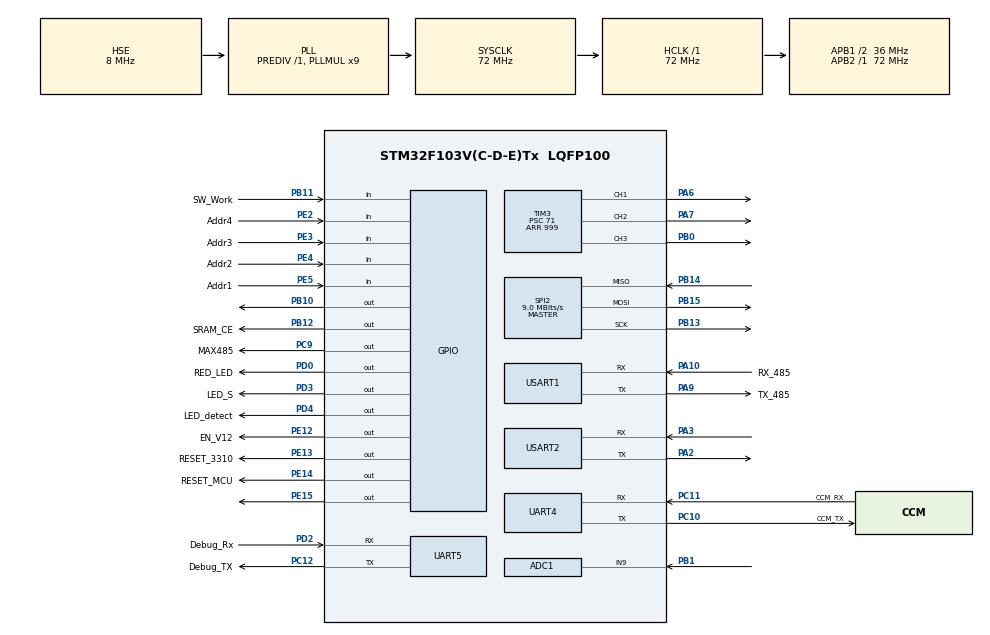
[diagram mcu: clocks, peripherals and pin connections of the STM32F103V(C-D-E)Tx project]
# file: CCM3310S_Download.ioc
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ADC1.Channel-16\#ChannelRegularConversion=ADC_CHANNEL_9
ADC1.Channel-17\#ChannelRegularConversion=ADC_CHANNEL_TEMPSENSOR
ADC1.Channel-18\#ChannelRegularConversion=ADC_CHANNEL_VREFINT
ADC1.ContinuousConvMode=ENABLE
ADC1.EnableAnalogWatchDog=false
ADC1.NbrOfConversion=3
ADC1.NbrOfConversionFlag=1
ADC1.Rank-16\#ChannelRegularConversion=1
ADC1.Rank-17\#ChannelRegularConversion=2
ADC1.Rank-18\#ChannelRegularConversion=3
ADC1.SamplingTime-16\#ChannelRegularConversion=ADC_SAMPLETIME_55CYCLES_5
ADC1.SamplingTime-17\#ChannelRegularConversion=ADC_SAMPLETIME_55CYCLES_5
ADC1.SamplingTime-18\#ChannelRegularConversion=ADC_SAMPLETIME_55CYCLES_5
ADC1.master=1
Dma.ADC1.0.Direction=DMA_PERIPH_TO_MEMORY
Dma.ADC1.0.Instance=DMA1_Channel1
Dma.ADC1.0.MemDataAlignment=DMA_MDATAALIGN_HALFWORD
Dma.ADC1.0.MemInc=DMA_MINC_ENABLE
Dma.ADC1.0.Mode=DMA_CIRCULAR
Dma.ADC1.0.PeriphDataAlignment=DMA_PDATAALIGN_HALFWORD
Dma.ADC1.0.PeriphInc=DMA_PINC_DISABLE
Dma.ADC1.0.Priority=DMA_PRIORITY_HIGH
Dma.Request0=ADC1
FREERTOS.Tasks01=defaultTask,24,128,StartDefaultTask,Default,NULL,Dynamic,NULL,NULL
FREERTOS.configTICK_RATE_HZ=1000
Mcu.Family=STM32F1
Mcu.Name=STM32F103V(C-D-E)Tx
Mcu.Package=LQFP100
NVIC.DMA1_Channel1_IRQn=true\:5\:0\:false\:false\:true\:true\:false\:true
NVIC.PriorityGroup=NVIC_PRIORITYGROUP_4
NVIC.UART4_IRQn=true\:5\:0\:false\:false\:true\:true\:true\:true
NVIC.UART5_IRQn=true\:5\:0\:true\:false\:true\:true\:true\:true
NVIC.USART1_IRQn=true\:5\:0\:false\:false\:true\:true\:true\:true
NVIC.USART2_IRQn=true\:5\:0\:false\:false\:true\:true\:true\:true
OSC_IN.Mode=HSE-External-Oscillator
OSC_IN.Signal=RCC_OSC_IN
OSC_OUT.Mode=HSE-External-Oscillator
OSC_OUT.Signal=RCC_OSC_OUT
PA10.GPIO_Label=RX_485
PA10.GPIO_PuPd=GPIO_PULLUP
PA10.Mode=Asynchronous
PA10.Signal=USART1_RX
PA13.Mode=Serial_Wire
PA13.Signal=SYS_JTMS-SWDIO
PA14.Mode=Serial_Wire
PA14.Signal=SYS_JTCK-SWCLK
PA2.Mode=Asynchronous
PA2.Signal=USART2_TX
PA3.GPIO_PuPd=GPIO_PULLUP
PA3.Mode=Asynchronous
PA3.Signal=USART2_RX
PA6.GPIO_Speed=GPIO_SPEED_FREQ_HIGH
PA6.Signal=S_TIM3_CH1
PA7.GPIO_Speed=GPIO_SPEED_FREQ_HIGH
PA7.Signal=S_TIM3_CH2
PA9.GPIO_Label=TX_485
PA9.Mode=Asynchronous
PA9.Signal=USART1_TX
PB0.GPIO_Speed=GPIO_SPEED_FREQ_HIGH
PB0.Signal=S_TIM3_CH3
PB1.Signal=ADCx_IN9
PB10.Signal=GPIO_Output
PB11.GPIO_Label=SW_Work
PB11.GPIO_PuPd=GPIO_PULLUP
PB11.Signal=GPIO_Input
PB12.GPIO_Label=SRAM_CE
PB12.GPIO_PuPd=GPIO_PULLUP
PB12.GPIO_Speed=GPIO_SPEED_FREQ_HIGH
PB12.PinState=GPIO_PIN_SET
PB12.Signal=GPIO_Output
PB13.Mode=Full_Duplex_Master
PB13.Signal=SPI2_SCK
PB14.GPIO_PuPd=GPIO_PULLUP
PB14.Mode=Full_Duplex_Master
PB14.Signal=SPI2_MISO
PB15.Mode=Full_Duplex_Master
PB15.Signal=SPI2_MOSI
PC10.GPIO_Label=CCM_TX
PC10.Mode=Asynchronous
PC10.Signal=UART4_TX
PC11.GPIO_Label=CCM_RX
PC11.GPIO_PuPd=GPIO_PULLUP
PC11.Mode=Asynchronous
PC11.Signal=UART4_RX
PC12.GPIO_Label=Debug_TX
PC12.Mode=Asynchronous
PC12.Signal=UART5_TX
PC9.GPIO_Label=MAX485
PC9.GPIO_PuPd=GPIO_PULLUP
PC9.GPIO_Speed=GPIO_SPEED_FREQ_HIGH
PC9.Signal=GPIO_Output
PD0.GPIO_Label=RED_LED
PD0.GPIO_ModeDefaultOutputPP=GPIO_MODE_OUTPUT_OD
PD0.GPIO_PuPd=GPIO_NOPULL
PD0.GPIO_Speed=GPIO_SPEED_FREQ_HIGH
PD0.PinState=GPIO_PIN_SET
PD0.Signal=GPIO_Output
PD2.GPIO_Label=Debug_Rx
PD2.GPIO_PuPd=GPIO_PULLUP
PD2.Mode=Asynchronous
PD2.Signal=UART5_RX
PD3.GPIO_Label=LED_S
PD3.GPIO_ModeDefaultOutputPP=GPIO_MODE_OUTPUT_OD
PD3.GPIO_PuPd=GPIO_NOPULL
PD3.GPIO_Speed=GPIO_SPEED_FREQ_HIGH
PD3.PinState=GPIO_PIN_SET
PD3.Signal=GPIO_Output
PD4.GPIO_Label=LED_detect
PD4.GPIO_ModeDefaultOutputPP=GPIO_MODE_OUTPUT_OD
PD4.GPIO_PuPd=GPIO_NOPULL
PD4.GPIO_Speed=GPIO_SPEED_FREQ_HIGH
PD4.PinState=GPIO_PIN_SET
PD4.Signal=GPIO_Output
PE12.GPIO_Label=EN_V12
PE12.GPIO_PuPd=GPIO_PULLUP
PE12.GPIO_Speed=GPIO_SPEED_FREQ_HIGH
PE12.Signal=GPIO_Output
PE13.GPIO_Label=RESET_3310
PE13.GPIO_PuPd=GPIO_PULLUP
PE13.GPIO_Speed=GPIO_SPEED_FREQ_HIGH
PE13.Signal=GPIO_Output
PE14.GPIO_Label=RESET_MCU
PE14.GPIO_PuPd=GPIO_PULLUP
PE14.Signal=GPIO_Output
PE15.Signal=GPIO_Output
PE2.GPIO_Label=Addr4
PE2.GPIO_PuPd=GPIO_PULLUP
PE2.Signal=GPIO_Input
PE3.GPIO_Label=Addr3
PE3.GPIO_PuPd=GPIO_PULLUP
PE3.Signal=GPIO_Input
PE4.GPIO_Label=Addr2
PE4.GPIO_PuPd=GPIO_PULLUP
PE4.Signal=GPIO_Input
PE5.GPIO_Label=Addr1
PE5.GPIO_PuPd=GPIO_PULLUP
PE5.Signal=GPIO_Input
ProjectManager.HeapSize=0x200
ProjectManager.StackSize=0x400
ProjectManager.TargetToolchain=MDK-ARM V5.27
RCC.ADCPresc=RCC_ADCPCLK2_DIV6
RCC.AHBFreq_Value=72000000
RCC.APB1CLKDivider=RCC_HCLK_DIV2
RCC.APB1Freq_Value=36000000
RCC.APB1TimFreq_Value=72000000
RCC.APB2Freq_Value=72000000
RCC.APB2TimFreq_Value=72000000
RCC.HCLKFreq_Value=72000000
RCC.PLLMUL=RCC_PLL_MUL9
RCC.PLLSourceVirtual=RCC_PLLSOURCE_HSE
RCC.SYSCLKFreq_VALUE=72000000
RCC.SYSCLKSource=RCC_SYSCLKSOURCE_PLLCLK
RCC.USBFreq_Value=72000000
SH.ADCx_IN9.0=ADC1_IN9,IN9
SH.S_TIM3_CH1.0=TIM3_CH1,PWM Generation1 CH1
SH.S_TIM3_CH2.0=TIM3_CH2,PWM Generation2 CH2
SH.S_TIM3_CH3.0=TIM3_CH3,PWM Generation3 CH3
SPI2.BaudRatePrescaler=SPI_BAUDRATEPRESCALER_4
SPI2.CLKPhase=SPI_PHASE_2EDGE
SPI2.CLKPolarity=SPI_POLARITY_HIGH
SPI2.CalculateBaudRate=9.0 MBits/s
SPI2.Direction=SPI_DIRECTION_2LINES
SPI2.Mode=SPI_MODE_MASTER
SPI2.VirtualType=VM_MASTER
TIM3.AutoReloadPreload=TIM_AUTORELOAD_PRELOAD_ENABLE
TIM3.Channel-PWM\ Generation1\ CH1=TIM_CHANNEL_1
TIM3.Channel-PWM\ Generation2\ CH2=TIM_CHANNEL_2
TIM3.Channel-PWM\ Generation3\ CH3=TIM_CHANNEL_3
TIM3.OCMode_PWM-PWM\ Generation1\ CH1=TIM_OCMODE_PWM2
TIM3.OCMode_PWM-PWM\ Generation2\ CH2=TIM_OCMODE_PWM2
TIM3.OCMode_PWM-PWM\ Generation3\ CH3=TIM_OCMODE_PWM2
TIM3.Period=999
TIM3.Prescaler=71
TIM3.Pulse-PWM\ Generation1\ CH1=0
TIM3.Pulse-PWM\ Generation2\ CH2=0
TIM3.Pulse-PWM\ Generation3\ CH3=0
UART4.Parity=PARITY_NONE
UART4.VirtualMode=Asynchronous
UART5.VirtualMode=Asynchronous
USART1.VirtualMode=VM_ASYNC
USART2.VirtualMode=VM_ASYNC
VP_ADC1_TempSens_Input.Mode=IN-TempSens
VP_ADC1_Vref_Input.Mode=IN-Vrefint
VP_FREERTOS_VS_CMSIS_V2.Mode=CMSIS_V2
board=custom

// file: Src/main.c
/* USER CODE BEGIN Header */
/**
  ******************************************************************************
  * @file           : main.c
  * @brief          : Main program body
  ******************************************************************************
  * @attention
  *
  * <h2><center>&copy; Copyright (c) 2020 STMicroelectronics.
  * All rights reserved.</center></h2>
  *
  * This software component is licensed by ST under BSD 3-Clause license,
  * the "License"; You may not use this file except in compliance with the
  * License. You may obtain a copy of the License at:
  *                        opensource.org/licenses/BSD-3-Clause
  *
  ******************************************************************************
  */
/* USER CODE END Header */

#include "main.h"
#include "cmsis_os.h"
#include "adc.h"
#include "dma.h"
#include "spi.h"
#include "tim.h"
#include "usart.h"
#include "gpio.h"

/* USER CODE BEGIN Includes */
#include "CMM3310S/ccm3310s_uart_hal.h"
#include "MultiTask/Task.h"
/* USER CODE END Includes */

void SystemClock_Config(void);
void MX_FREERTOS_Init(void);

int main(void)
{
  /* USER CODE BEGIN 1 */

	//uint32_t sys_Tick=0;
  /* USER CODE END 1 */

  /* MCU Configuration--------------------------------------------------------*/

  /* Reset of all peripherals, Initializes the Flash interface and the Systick. */
  HAL_Init();

  /* Configure the system clock */
  SystemClock_Config();

  /* Initialize all configured peripherals */
  MX_GPIO_Init();
  MX_DMA_Init();
  MX_SPI2_Init();
  MX_UART4_Init();
  MX_UART5_Init();
  MX_USART1_UART_Init();
  MX_USART2_UART_Init();
  MX_ADC1_Init();
  MX_TIM3_Init();
  /* USER CODE BEGIN 2 */
		//sys_Tick=HAL_GetTick()+500;
		//ccm3310s_uart_hal_init();
	  /* Enable RXNE and Error interrupts */
  LL_USART_EnableIT_RXNE(UART5);
  LL_USART_EnableIT_ERROR(UART5);
  LL_USART_EnableIT_RXNE(UART4);
  LL_USART_EnableIT_ERROR(UART4);
  //LL_USART_EnableIT_RXNE(USART1);
  //LL_USART_EnableIT_ERROR(USART1);
  //LL_USART_EnableIT_RXNE(USART2);
  //LL_USART_EnableIT_ERROR(USART2);
	LL_TIM_CC_EnableChannel(TIM3, LL_TIM_CHANNEL_CH1);
	LL_TIM_CC_EnableChannel(TIM3, LL_TIM_CHANNEL_CH2);
	LL_TIM_CC_EnableChannel(TIM3, LL_TIM_CHANNEL_CH3);
	LL_TIM_EnableCounter(TIM3);
	udf_MTask_Init();
	HAL_ADCEx_Calibration_Start(&hadc1);
	//LL_ADC_EnableIT_EOS(ADC1);
  /* USER CODE END 2 */

  /* Init scheduler */
  osKernelInitialize();  /* Call init function for freertos objects (in freertos.c) */
  MX_FREERTOS_Init();
  /* Start scheduler */
  osKernelStart();

  /* We should never get here as control is now taken by the scheduler */
  /* Infinite loop */
  while (1)
  {

    /* USER CODE BEGIN 3 */
		/*if(HAL_GetTick()>sys_Tick)
		{
			LL_GPIO_ResetOutputPin(GPIOD, RED_LED_Pin|LED_S_Pin|LED_detect_Pin);
		}
		if(HAL_GetTick()>(sys_Tick+500))
		{
			LL_GPIO_SetOutputPin(GPIOD, RED_LED_Pin|LED_S_Pin|LED_detect_Pin);
			sys_Tick=HAL_GetTick()+500;
		}*/
  }
  /* USER CODE END 3 */
}

void SystemClock_Config(void)
{
  RCC_OscInitTypeDef RCC_OscInitStruct = {0};
  RCC_ClkInitTypeDef RCC_ClkInitStruct = {0};
  RCC_PeriphCLKInitTypeDef PeriphClkInit = {0};

  /** Initializes the CPU, AHB and APB busses clocks
  */
  RCC_OscInitStruct.OscillatorType = RCC_OSCILLATORTYPE_HSE;
  RCC_OscInitStruct.HSEState = RCC_HSE_ON;
  RCC_OscInitStruct.HSEPredivValue = RCC_HSE_PREDIV_DIV1;
  RCC_OscInitStruct.HSIState = RCC_HSI_ON;
  RCC_OscInitStruct.PLL.PLLState = RCC_PLL_ON;
  RCC_OscInitStruct.PLL.PLLSource = RCC_PLLSOURCE_HSE;
  RCC_OscInitStruct.PLL.PLLMUL = RCC_PLL_MUL9;
  if (HAL_RCC_OscConfig(&RCC_OscInitStruct) != HAL_OK)
  {
    Error_Handler();
  }
  /** Initializes the CPU, AHB and APB busses clocks
  */
  RCC_ClkInitStruct.ClockType = RCC_CLOCKTYPE_HCLK|RCC_CLOCKTYPE_SYSCLK
                              |RCC_CLOCKTYPE_PCLK1|RCC_CLOCKTYPE_PCLK2;
  RCC_ClkInitStruct.SYSCLKSource = RCC_SYSCLKSOURCE_PLLCLK;
  RCC_ClkInitStruct.AHBCLKDivider = RCC_SYSCLK_DIV1;
  RCC_ClkInitStruct.APB1CLKDivider = RCC_HCLK_DIV2;
  RCC_ClkInitStruct.APB2CLKDivider = RCC_HCLK_DIV1;

  if (HAL_RCC_ClockConfig(&RCC_ClkInitStruct, FLASH_LATENCY_2) != HAL_OK)
  {
    Error_Handler();
  }
  PeriphClkInit.PeriphClockSelection = RCC_PERIPHCLK_ADC;
  PeriphClkInit.AdcClockSelection = RCC_ADCPCLK2_DIV6;
  if (HAL_RCCEx_PeriphCLKConfig(&PeriphClkInit) != HAL_OK)
  {
    Error_Handler();
  }
}

void Error_Handler(void)
{
}

/************************ (C) COPYRIGHT STMicroelectronics *****END OF FILE****/

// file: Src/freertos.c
/* USER CODE BEGIN Header */
/**
  ******************************************************************************
  * File Name          : freertos.c
  * Description        : Code for freertos applications
  ******************************************************************************
  * @attention
  *
  * <h2><center>&copy; Copyright (c) 2020 STMicroelectronics.
  * All rights reserved.</center></h2>
  *
  * This software component is licensed by ST under Ultimate Liberty license
  * SLA0044, the "License"; You may not use this file except in compliance with
  * the License. You may obtain a copy of the License at:
  *                             www.st.com/SLA0044
  *
  ******************************************************************************
  */
/* USER CODE END Header */

#include "FreeRTOS.h"
#include "task.h"
#include "main.h"
#include "cmsis_os.h"

/* USER CODE BEGIN Includes */
#include "CMM3310S/ccm3310s_uart_hal.h"
#include "SMx/app_smx_upload.h"
#include <string.h>
#include "MultiTask/timTask.h"
#include "MultiTask/Task.h"
#include "MultiTask/Task/Notify.h"
#include "adc.h"
#include "Periphs/uart.h"
/* USER CODE END Includes */

/* Definitions for defaultTask */
osThreadId_t defaultTaskHandle;
const osThreadAttr_t defaultTask_attributes = {
  .name = "defaultTask",
  .priority = (osPriority_t) osPriorityNormal,
  .stack_size = 128 * 4
};

void StartDefaultTask(void *argument);

void MX_FREERTOS_Init(void); /* (MISRA C 2004 rule 8.1) */

void MX_FREERTOS_Init(void) {

  /* Create the thread(s) */
  /* creation of defaultTask */
  defaultTaskHandle = osThreadNew(StartDefaultTask, NULL, &defaultTask_attributes);

}

/* USER CODE BEGIN Header_StartDefaultTask */
/**
  * @brief  Function implementing the defaultTask thread.
  * @param  argument: Not used
  * @retval None
  */
extern void MThread_Init(void);
/* USER CODE END Header_StartDefaultTask */
void StartDefaultTask(void *argument)
{
  /* USER CODE BEGIN StartDefaultTask */
  /* Infinite loop */
  /* creation of download */
  MThread_Init();
  for(;;)
  {
    osDelay(1000);
  }
  /* USER CODE END StartDefaultTask */
}

/************************ (C) COPYRIGHT STMicroelectronics *****END OF FILE****/
